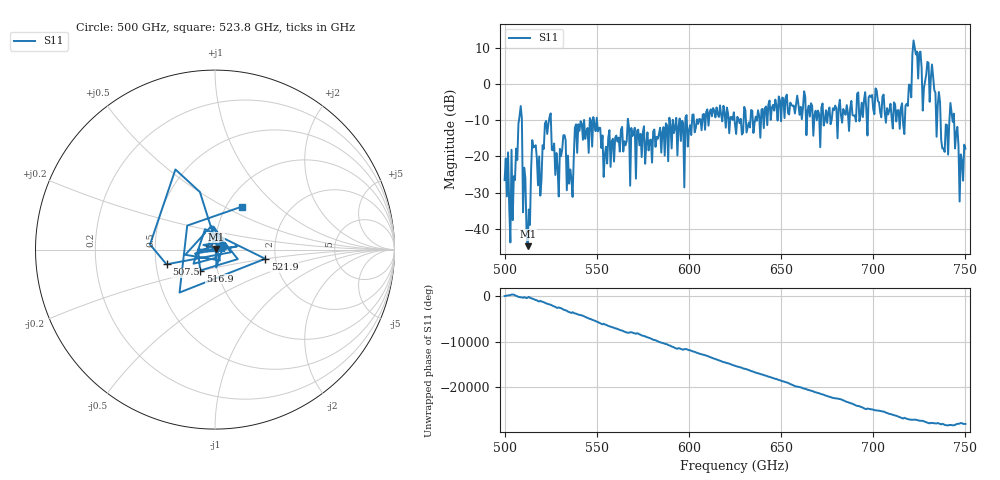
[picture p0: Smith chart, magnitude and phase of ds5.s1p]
# GHz S RI R 50
!freq	ReS11	ImS11
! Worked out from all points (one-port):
!   401 points, 500 GHz to 750 GHz, reference 50 ohm
!   lowest |S11| = -44.8 dB at 512.5 GHz (marker M1), VSWR 1.01, Z = 50.4 + j0.395 ohm
!   |S11| at or under -10 dB: 525.1 GHz to 543.1 GHz (17.99 GHz wide, 3.37 % of centre); 550.1 GHz to 566.8 GHz (16.71 GHz wide, 2.99 % of centre); 567 GHz to 589.3 GHz (22.36 GHz wide, 3.87 % of centre) (the widest 3 of 54)
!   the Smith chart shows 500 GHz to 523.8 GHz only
!   S11 on the Smith chart (normalised r, x): 500 GHz: 1.09, +0.05; 507.5 GHz: 0.57, -0.10; 516.9 GHz: 0.83, -0.20; 521.9 GHz: 1.76, -0.20; 523.8 GHz: 1.18, +0.61
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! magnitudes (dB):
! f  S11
! 500 GHz  -26.6
! 503.8 GHz  -18.2
! 507.5 GHz  -11.0
! 512.5 GHz  -44.8
! 515.6 GHz  -17.5
! 516.9 GHz  -16.9
! 519.4 GHz  -30.8
! 521.9 GHz  -10.9
! 523.8 GHz  -11.0
! 528.1 GHz  -19.1
! 531.2 GHz  -18.0
! 536.2 GHz  -26.1
! 541.2 GHz  -10.3
! 549.4 GHz  -13.0
! 555 GHz  -17.3
! 562.5 GHz  -18.7
! 593.8 GHz  -19.8
! 625 GHz  -11.2
! 656.2 GHz  -6.0
! 687.5 GHz  -6.6
! 715.6 GHz  -5.3
! 718.8 GHz  -6.0
! 722.5 GHz  10.2
! 732.5 GHz  2.1
! 738.1 GHz  -17.8
! 742.5 GHz  -7.8
! 747.5 GHz  -19.4
! 750 GHz  -17.8
